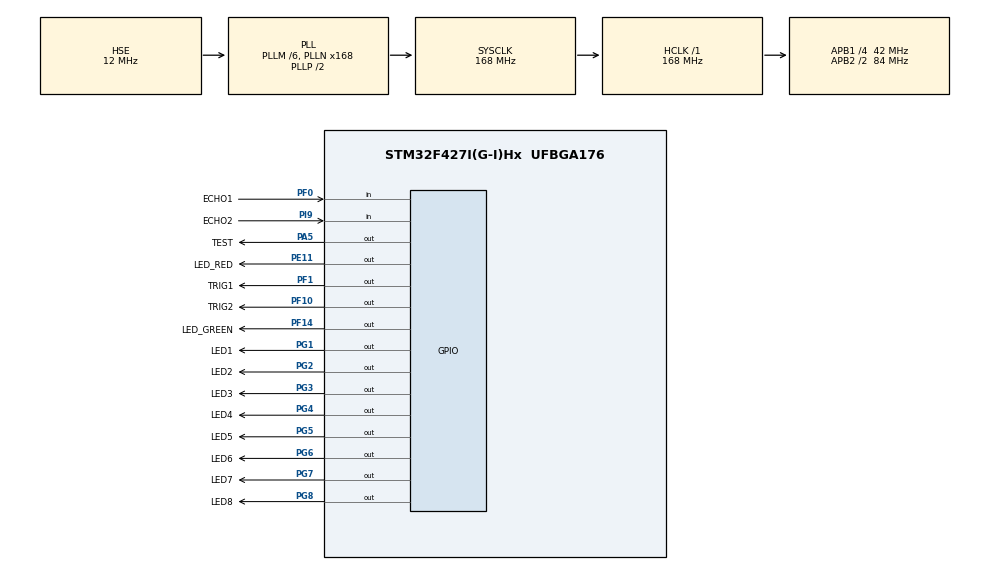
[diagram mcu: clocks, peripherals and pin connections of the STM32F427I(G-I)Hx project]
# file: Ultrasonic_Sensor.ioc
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Mcu.Family=STM32F4
Mcu.Name=STM32F427I(G-I)Hx
Mcu.Package=UFBGA176
NVIC.PriorityGroup=NVIC_PRIORITYGROUP_4
PA13.Mode=Serial_Wire
PA13.Signal=SYS_JTMS-SWDIO
PA14.Mode=Serial_Wire
PA14.Signal=SYS_JTCK-SWCLK
PA5.GPIO_Label=TEST
PA5.Signal=GPIO_Output
PE11.GPIO_Label=LED_RED
PE11.Signal=GPIO_Output
PF0.GPIO_Label=ECHO1
PF0.Signal=GPIO_Input
PF1.GPIO_Label=TRIG1
PF1.Signal=GPIO_Output
PF10.GPIO_Label=TRIG2
PF10.Signal=GPIO_Output
PF14.GPIO_Label=LED_GREEN
PF14.Signal=GPIO_Output
PG1.GPIO_Label=LED1
PG1.Signal=GPIO_Output
PG2.GPIO_Label=LED2
PG2.Signal=GPIO_Output
PG3.GPIO_Label=LED3
PG3.Signal=GPIO_Output
PG4.GPIO_Label=LED4
PG4.Signal=GPIO_Output
PG5.GPIO_Label=LED5
PG5.Signal=GPIO_Output
PG6.GPIO_Label=LED6
PG6.Signal=GPIO_Output
PG7.GPIO_Label=LED7
PG7.Signal=GPIO_Output
PG8.GPIO_Label=LED8
PG8.Signal=GPIO_Output
PH0/OSC_IN.Mode=HSE-External-Oscillator
PH0/OSC_IN.Signal=RCC_OSC_IN
PH1/OSC_OUT.Mode=HSE-External-Oscillator
PH1/OSC_OUT.Signal=RCC_OSC_OUT
PI9.GPIO_Label=ECHO2
PI9.Signal=GPIO_Input
ProjectManager.HeapSize=0x200
ProjectManager.StackSize=0x400
ProjectManager.TargetToolchain=MDK-ARM V5
RCC.48MHZClocksFreq_Value=84000000
RCC.AHBFreq_Value=168000000
RCC.APB1CLKDivider=RCC_HCLK_DIV4
RCC.APB1Freq_Value=42000000
RCC.APB1TimFreq_Value=84000000
RCC.APB2CLKDivider=RCC_HCLK_DIV2
RCC.APB2Freq_Value=84000000
RCC.APB2TimFreq_Value=168000000
RCC.CortexFreq_Value=168000000
RCC.HCLKFreq_Value=168000000
RCC.HSE_VALUE=12000000
RCC.HSI_VALUE=16000000
RCC.LSE_VALUE=32768
RCC.PLLM=6
RCC.PLLN=168
RCC.PLLSourceVirtual=RCC_PLLSOURCE_HSE
RCC.SYSCLKFreq_VALUE=168000000
RCC.SYSCLKSource=RCC_SYSCLKSOURCE_PLLCLK
RCC.VCOOutputFreq_Value=336000000
TIM4.Period=0xffff-1
TIM4.Prescaler=83
VP_TIM4_VS_ClockSourceINT.Mode=Internal
board=custom

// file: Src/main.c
/* USER CODE BEGIN Header */
/**
  ******************************************************************************
  * @file           : main.c
  * @brief          : Main program body
  ******************************************************************************
  * @attention
  *
  * <h2><center>&copy; Copyright (c) 2021 STMicroelectronics.
  * All rights reserved.</center></h2>
  *
  * This software component is licensed by ST under BSD 3-Clause license,
  * the "License"; You may not use this file except in compliance with the
  * License. You may obtain a copy of the License at:
  *                        opensource.org/licenses/BSD-3-Clause
  *
  ******************************************************************************
  */
/* USER CODE END Header */
#include "main.h"
#include "tim.h"
#include "gpio.h"

/* USER CODE BEGIN PM */
#define usDelay(uSec)                                                          \
    do                                                                         \
    {                                                                          \
        __HAL_TIM_SET_COUNTER(&htim4, 0); /* set the counter value a 0*/       \
        while (__HAL_TIM_GET_COUNTER(&htim4) < uSec)                           \
            ; /* wait for the counter to reach the us input in the parameter*/ \
    } while (0U)
#define ULTRASONIC_MEASURE_RIGHT()                                                              \
    do                                                                                          \
    {                                                                                           \
        /* START Ultrasonic measure routine */                                                  \
        numTicks = 0;                                                                           \
        HAL_GPIO_WritePin(TRIGGER2_GPIO_Port, TRIGGER2_Pin, GPIO_PIN_RESET);                          \
        usDelay(3);                                                                             \
        /*1. Output 10 usec TRIG (actually 14us)*/                                              \
        HAL_GPIO_WritePin(TRIGGER2_GPIO_Port, TRIGGER2_Pin, GPIO_PIN_SET);                            \
        usDelay(10);                                                                            \
        HAL_GPIO_WritePin(TRIGGER2_GPIO_Port, TRIGGER2_Pin, GPIO_PIN_RESET);                          \
        /*2. Wait for ECHO pin rising edge*/                                                    \
        while (HAL_GPIO_ReadPin(ECHO2_GPIO_Port, ECHO2_Pin) == GPIO_PIN_RESET)                  \
            ;                                                                                   \
        /*3. Start measuring ECHO pulse width in usec*/                                         \
        while (HAL_GPIO_ReadPin(ECHO2_GPIO_Port, ECHO2_Pin) == GPIO_PIN_SET && numTicks < 5850) \
        { /* within 1 meter range*/                                                             \
            numTicks++;                                                                         \
            usDelay(2);                                                                         \
        };                                                                                      \
        distance_right = (numTicks + 0.0f) * speedOfSound; /* centimeter*/                      \
    } while (0U)
#define ULTRASONIC_MEASURE_LEFT()                                                               \
    do                                                                                          \
    {                                                                                           \
        /* START Ultrasonic measure routine */                                                  \
        numTicks = 0;                                                                           \
        HAL_GPIO_WritePin(TRIGGER1_GPIO_Port, TRIGGER1_Pin, GPIO_PIN_RESET);                          \
        usDelay(3);                                                                             \
        /*1. Output 10 usec TRIG (actually 14us)*/                                              \
        HAL_GPIO_WritePin(TRIGGER1_GPIO_Port, TRIGGER1_Pin, GPIO_PIN_SET);                            \
        usDelay(10);                                                                            \
        HAL_GPIO_WritePin(TRIGGER1_GPIO_Port, TRIGGER1_Pin, GPIO_PIN_RESET);                          \
        /*2. Wait for ECHO pin rising edge*/                                                    \
        while (HAL_GPIO_ReadPin(ECHO1_GPIO_Port, ECHO1_Pin) == GPIO_PIN_RESET)                  \
            ;                                                                                   \
        /*3. Start measuring ECHO pulse width in usec*/                                         \
        while (HAL_GPIO_ReadPin(ECHO1_GPIO_Port, ECHO1_Pin) == GPIO_PIN_SET && numTicks < 5850) \
        { /* within 1 meter range*/                                                             \
            numTicks++;                                                                         \
            usDelay(2);                                                                         \
        };                                                                                      \
        distance_left = (numTicks + 0.0f) * speedOfSound; /* centimeter*/                       \
    } while (0U)
/* USER CODE END PM */

/* USER CODE BEGIN PV */

/***** Ultrasonic variables *****/
#define LEFT_SONIC_THRESHOLD 50.0f
#define RIGHT_SONIC_THRESHOLD 50.0f
uint8_t left_detect = 0;
uint8_t right_detect = 0;

const float speedOfSound = 0.0343 / 2;
float distance_left = LEFT_SONIC_THRESHOLD + 1.0f; // in cm
float distance_right = RIGHT_SONIC_THRESHOLD + 1.0f;
uint32_t numTicks = 0;

/* USER CODE END PV */

void SystemClock_Config(void);
void ledrowoutput(float distance);
void wiggle(void);

int main(void)
{

    /* MCU Configuration--------------------------------------------------------*/

    /* Reset of all peripherals, Initializes the Flash interface and the Systick. */
    HAL_Init();

    /* Configure the system clock */
    SystemClock_Config();

    /* Initialize all configured peripherals */
    MX_GPIO_Init();
    MX_TIM4_Init();
    /* USER CODE BEGIN 2 */
    HAL_TIM_Base_Start(&htim4);
    /* USER CODE END 2 */

    /* Infinite loop */
    while (1)
    {
        // ULTRASONIC_MEASURE_LEFT();
        // ledrowoutput(distance_left);
        // ULTRASONIC_MEASURE_RIGHT();
        // ledrowoutput(distance_right);
        HAL_GPIO_TogglePin(TEST_GPIO_Port, TEST_Pin);
        usDelay(2);
        // HAL_Delay(10);
    }
}

void SystemClock_Config(void)
{
    RCC_OscInitTypeDef RCC_OscInitStruct = {0};
    RCC_ClkInitTypeDef RCC_ClkInitStruct = {0};

    /** Configure the main internal regulator output voltage
  */
    __HAL_RCC_PWR_CLK_ENABLE();
    __HAL_PWR_VOLTAGESCALING_CONFIG(PWR_REGULATOR_VOLTAGE_SCALE1);
    /** Initializes the RCC Oscillators according to the specified parameters
  * in the RCC_OscInitTypeDef structure.
  */
    RCC_OscInitStruct.OscillatorType = RCC_OSCILLATORTYPE_HSE;
    RCC_OscInitStruct.HSEState = RCC_HSE_ON;
    RCC_OscInitStruct.PLL.PLLState = RCC_PLL_ON;
    RCC_OscInitStruct.PLL.PLLSource = RCC_PLLSOURCE_HSE;
    RCC_OscInitStruct.PLL.PLLM = 6;
    RCC_OscInitStruct.PLL.PLLN = 168;
    RCC_OscInitStruct.PLL.PLLP = RCC_PLLP_DIV2;
    RCC_OscInitStruct.PLL.PLLQ = 4;
    if (HAL_RCC_OscConfig(&RCC_OscInitStruct) != HAL_OK)
    {
        Error_Handler();
    }
    /** Initializes the CPU, AHB and APB buses clocks
  */
    RCC_ClkInitStruct.ClockType = RCC_CLOCKTYPE_HCLK | RCC_CLOCKTYPE_SYSCLK | RCC_CLOCKTYPE_PCLK1 | RCC_CLOCKTYPE_PCLK2;
    RCC_ClkInitStruct.SYSCLKSource = RCC_SYSCLKSOURCE_PLLCLK;
    RCC_ClkInitStruct.AHBCLKDivider = RCC_SYSCLK_DIV1;
    RCC_ClkInitStruct.APB1CLKDivider = RCC_HCLK_DIV4;
    RCC_ClkInitStruct.APB2CLKDivider = RCC_HCLK_DIV2;

    if (HAL_RCC_ClockConfig(&RCC_ClkInitStruct, FLASH_LATENCY_5) != HAL_OK)
    {
        Error_Handler();
    }
}

/* USER CODE BEGIN 4 */

void wiggle(void)
{
    ;
}

// led output, test function
void ledrowoutput(float distance)
{
    if (distance < 12.5f)
    {
        HAL_GPIO_WritePin(LED1_GPIO_Port_o, LED1_Pin_o, GPIO_PIN_RESET);
        HAL_GPIO_WritePin(LED2_GPIO_Port_o, LED2_Pin_o, GPIO_PIN_SET);
        HAL_GPIO_WritePin(LED3_GPIO_Port_o, LED3_Pin_o, GPIO_PIN_SET);
        HAL_GPIO_WritePin(LED4_GPIO_Port_o, LED4_Pin_o, GPIO_PIN_SET);
        HAL_GPIO_WritePin(LED5_GPIO_Port_o, LED5_Pin_o, GPIO_PIN_SET);
        HAL_GPIO_WritePin(LED6_GPIO_Port_o, LED6_Pin_o, GPIO_PIN_SET);
        HAL_GPIO_WritePin(LED7_GPIO_Port_o, LED7_Pin_o, GPIO_PIN_SET);
        HAL_GPIO_WritePin(LED8_GPIO_Port_o, LED8_Pin_o, GPIO_PIN_SET);
    }
    else if (distance < 25.0f)
    {
        HAL_GPIO_WritePin(LED1_GPIO_Port_o, LED1_Pin_o, GPIO_PIN_RESET);
        HAL_GPIO_WritePin(LED2_GPIO_Port_o, LED2_Pin_o, GPIO_PIN_RESET);
        HAL_GPIO_WritePin(LED3_GPIO_Port_o, LED3_Pin_o, GPIO_PIN_SET);
        HAL_GPIO_WritePin(LED4_GPIO_Port_o, LED4_Pin_o, GPIO_PIN_SET);
        HAL_GPIO_WritePin(LED5_GPIO_Port_o, LED5_Pin_o, GPIO_PIN_SET);
        HAL_GPIO_WritePin(LED6_GPIO_Port_o, LED6_Pin_o, GPIO_PIN_SET);
        HAL_GPIO_WritePin(LED7_GPIO_Port_o, LED7_Pin_o, GPIO_PIN_SET);
        HAL_GPIO_WritePin(LED8_GPIO_Port_o, LED8_Pin_o, GPIO_PIN_SET);
    }
    else if (distance < 37.5f)
    {
        HAL_GPIO_WritePin(LED1_GPIO_Port_o, LED1_Pin_o, GPIO_PIN_RESET);
        HAL_GPIO_WritePin(LED2_GPIO_Port_o, LED2_Pin_o, GPIO_PIN_RESET);
        HAL_GPIO_WritePin(LED3_GPIO_Port_o, LED3_Pin_o, GPIO_PIN_RESET);
        HAL_GPIO_WritePin(LED4_GPIO_Port_o, LED4_Pin_o, GPIO_PIN_SET);
        HAL_GPIO_WritePin(LED5_GPIO_Port_o, LED5_Pin_o, GPIO_PIN_SET);
        HAL_GPIO_WritePin(LED6_GPIO_Port_o, LED6_Pin_o, GPIO_PIN_SET);
        HAL_GPIO_WritePin(LED7_GPIO_Port_o, LED7_Pin_o, GPIO_PIN_SET);
        HAL_GPIO_WritePin(LED8_GPIO_Port_o, LED8_Pin_o, GPIO_PIN_SET);
    }
    else if (distance < 50.0f)
    {
        HAL_GPIO_WritePin(LED1_GPIO_Port_o, LED1_Pin_o, GPIO_PIN_RESET);
        HAL_GPIO_WritePin(LED2_GPIO_Port_o, LED2_Pin_o, GPIO_PIN_RESET);
        HAL_GPIO_WritePin(LED3_GPIO_Port_o, LED3_Pin_o, GPIO_PIN_RESET);
        HAL_GPIO_WritePin(LED4_GPIO_Port_o, LED4_Pin_o, GPIO_PIN_RESET);
        HAL_GPIO_WritePin(LED5_GPIO_Port_o, LED5_Pin_o, GPIO_PIN_SET);
        HAL_GPIO_WritePin(LED6_GPIO_Port_o, LED6_Pin_o, GPIO_PIN_SET);
        HAL_GPIO_WritePin(LED7_GPIO_Port_o, LED7_Pin_o, GPIO_PIN_SET);
        HAL_GPIO_WritePin(LED8_GPIO_Port_o, LED8_Pin_o, GPIO_PIN_SET);
    }
    else if (distance < 62.5f)
    {
        HAL_GPIO_WritePin(LED1_GPIO_Port_o, LED1_Pin_o, GPIO_PIN_RESET);
        HAL_GPIO_WritePin(LED2_GPIO_Port_o, LED2_Pin_o, GPIO_PIN_RESET);
        HAL_GPIO_WritePin(LED3_GPIO_Port_o, LED3_Pin_o, GPIO_PIN_RESET);
        HAL_GPIO_WritePin(LED4_GPIO_Port_o, LED4_Pin_o, GPIO_PIN_RESET);
        HAL_GPIO_WritePin(LED5_GPIO_Port_o, LED5_Pin_o, GPIO_PIN_RESET);
        HAL_GPIO_WritePin(LED6_GPIO_Port_o, LED6_Pin_o, GPIO_PIN_SET);
        HAL_GPIO_WritePin(LED7_GPIO_Port_o, LED7_Pin_o, GPIO_PIN_SET);
        HAL_GPIO_WritePin(LED8_GPIO_Port_o, LED8_Pin_o, GPIO_PIN_SET);
    }
    else if (distance < 75.0f)
    {
        HAL_GPIO_WritePin(LED1_GPIO_Port_o, LED1_Pin_o, GPIO_PIN_RESET);
        HAL_GPIO_WritePin(LED2_GPIO_Port_o, LED2_Pin_o, GPIO_PIN_RESET);
        HAL_GPIO_WritePin(LED3_GPIO_Port_o, LED3_Pin_o, GPIO_PIN_RESET);
        HAL_GPIO_WritePin(LED4_GPIO_Port_o, LED4_Pin_o, GPIO_PIN_RESET);
        HAL_GPIO_WritePin(LED5_GPIO_Port_o, LED5_Pin_o, GPIO_PIN_RESET);
        HAL_GPIO_WritePin(LED6_GPIO_Port_o, LED6_Pin_o, GPIO_PIN_RESET);
        HAL_GPIO_WritePin(LED7_GPIO_Port_o, LED7_Pin_o, GPIO_PIN_SET);
        HAL_GPIO_WritePin(LED8_GPIO_Port_o, LED8_Pin_o, GPIO_PIN_SET);
    }
    else if (distance < 87.5f)
    {
        HAL_GPIO_WritePin(LED1_GPIO_Port_o, LED1_Pin_o, GPIO_PIN_RESET);
        HAL_GPIO_WritePin(LED2_GPIO_Port_o, LED2_Pin_o, GPIO_PIN_RESET);
        HAL_GPIO_WritePin(LED3_GPIO_Port_o, LED3_Pin_o, GPIO_PIN_RESET);
        HAL_GPIO_WritePin(LED4_GPIO_Port_o, LED4_Pin_o, GPIO_PIN_RESET);
        HAL_GPIO_WritePin(LED5_GPIO_Port_o, LED5_Pin_o, GPIO_PIN_RESET);
        HAL_GPIO_WritePin(LED6_GPIO_Port_o, LED6_Pin_o, GPIO_PIN_RESET);
        HAL_GPIO_WritePin(LED7_GPIO_Port_o, LED7_Pin_o, GPIO_PIN_RESET);
        HAL_GPIO_WritePin(LED8_GPIO_Port_o, LED8_Pin_o, GPIO_PIN_SET);
    }
    else
    {
        HAL_GPIO_WritePin(LED1_GPIO_Port_o, LED1_Pin_o, GPIO_PIN_RESET);
        HAL_GPIO_WritePin(LED2_GPIO_Port_o, LED2_Pin_o, GPIO_PIN_RESET);
        HAL_GPIO_WritePin(LED3_GPIO_Port_o, LED3_Pin_o, GPIO_PIN_RESET);
        HAL_GPIO_WritePin(LED4_GPIO_Port_o, LED4_Pin_o, GPIO_PIN_RESET);
        HAL_GPIO_WritePin(LED5_GPIO_Port_o, LED5_Pin_o, GPIO_PIN_RESET);
        HAL_GPIO_WritePin(LED6_GPIO_Port_o, LED6_Pin_o, GPIO_PIN_RESET);
        HAL_GPIO_WritePin(LED7_GPIO_Port_o, LED7_Pin_o, GPIO_PIN_RESET);
        HAL_GPIO_WritePin(LED8_GPIO_Port_o, LED8_Pin_o, GPIO_PIN_RESET);
    }
}
/* USER CODE END 4 */

void Error_Handler(void)
{
    __disable_irq();
    while (1)
    {
    }
}

/************************ (C) COPYRIGHT STMicroelectronics *****END OF FILE****/
